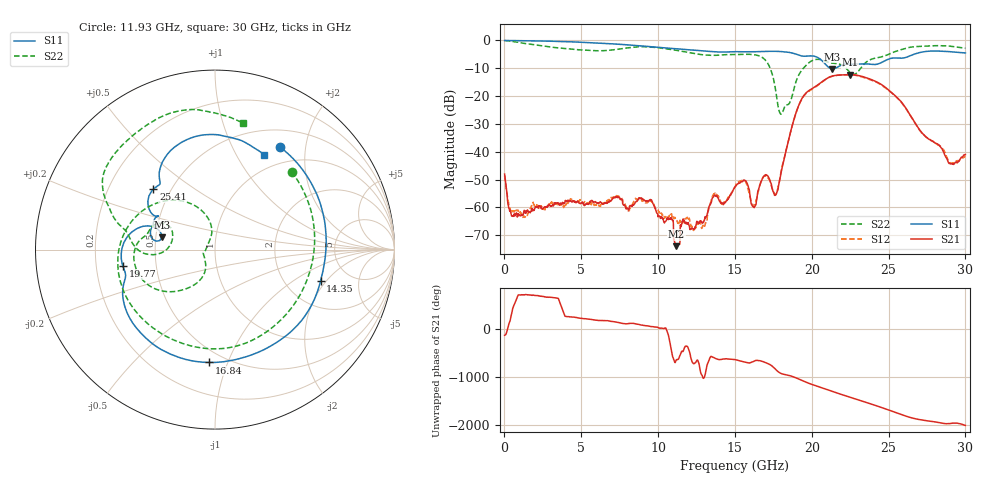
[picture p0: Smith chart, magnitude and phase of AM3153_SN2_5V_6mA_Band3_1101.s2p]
!Agilent Technologies,E8364B,MY43040894,A.07.50.67
!Agilent E8364B: A.07.50.67
!Date: Wednesday, May 13, 2020 06:24:08
!Correction: S11(Full 2 Port(1,2))
!S21(Full 2 Port(1,2))
!S12(Full 2 Port(1,2))
!S22(Full 2 Port(1,2))
!S2P File: Measurements: S11, S21, S12, S22:
# Hz S  dB  R 50
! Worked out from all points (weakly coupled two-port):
!   1601 points, 10 MHz to 30 GHz, reference 50 ohm
!   highest |S21| = -12.34 dB at 22.48 GHz (marker M1); lowest = -73.9 dB at 11.18 GHz (marker M2)
!   lowest |S11| = -10.3 dB at 21.34 GHz (marker M3), VSWR 1.87, Z = 26.9 + j4.04 ohm
!   |S11| at or under -10 dB: 21.17 GHz to 21.56 GHz (395.5 MHz wide, 1.85 % of centre)
!   |S22| runs from -26.5 to -0.1 dB; largest |S21 - S12| = 0.0076
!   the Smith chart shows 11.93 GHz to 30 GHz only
!   S11 on the Smith chart (normalised r, x): 11.93 GHz: 0.73, +1.55; 14.35 GHz: 3.13, -1.74; 16.84 GHz: 0.41, -0.86; 19.77 GHz: 0.32, -0.08; 25.41 GHz: 0.40, +0.35; 30 GHz: 0.81, +1.31
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1e7  -0.10 -2.0  -48.03 -132.6  -48.57 -169.2  -0.07 -4.1
1.284575e9  -0.19 -36.1  -61.04 -7.3  -63.12 -25.5  -1.13 -79.4
2.746588e9  -0.32 -75.3  -59.63 -57.4  -59.97 -47.4  -2.23 -154.6
5.014581e9  -0.73 -131.5  -58.41 -139.1  -58.15 -141.3  -3.49 101.0
6.776494e9  -1.21 -172.3  -57.82 169.0  -57.32 172.1  -3.61 0.2
8.032325e9  -1.66 158.9  -60.45 110.5  -60.86 102.4  -2.73 -90.5
9.025744e9  -2.09 135.3  -57.19 76.4  -57.77 82.7  -2.32 -159.4
1.001916e10  -2.54 110.8  -62.99 25.3  -61.41 44.4  -2.70 142.3
1.118128e10  -3.06 79.7  -73.91 71.8  -64.60 13.0  -3.60 82.5
1.193102e10  -3.38 57.9  -65.86 -16.4  -64.07 -81.9  -4.32 45.4
1.434897e10  -4.24 -16.4  -58.23 94.5  -57.96 96.3  -5.19 -76.3
1.5005e10  -4.11 -37.4  -52.65 78.3  -52.65 80.2  -5.15 -110.2
1.622334e10  -4.13 -75.1  -59.90 41.6  -59.36 34.1  -5.17 -167.6
1.684189e10  -4.02 -92.9  -49.02 36.0  -49.09 37.5  -6.43 157.2
1.8004e10  -4.07 -127.3  -47.33 149.8  -47.07 145.6  -26.53 158.9
1.976591e10  -5.66 -169.8  -18.25 -50.2  -18.49 -50.1  -8.30 -144.0
2.000958e10  -5.62 -176.3  -17.39 -79.0  -17.61 -78.6  -7.36 -154.5
2.134039e10  -10.34 167.1  -12.85 135.5  -12.91 136.8  -8.23 167.4
2.248376e10  -8.56 161.3  -12.34 14.7  -12.40 14.9  -11.48 155.3
2.501416e10  -6.73 144.2  -17.90 106.1  -18.07 108.8  -4.99 164.6
2.540778e10  -6.36 135.6  -19.79 61.9  -19.87 64.2  -4.10 159.4
3e10  -4.55 62.3  -41.01 144.0  -41.62 147.1  -2.83 77.5
